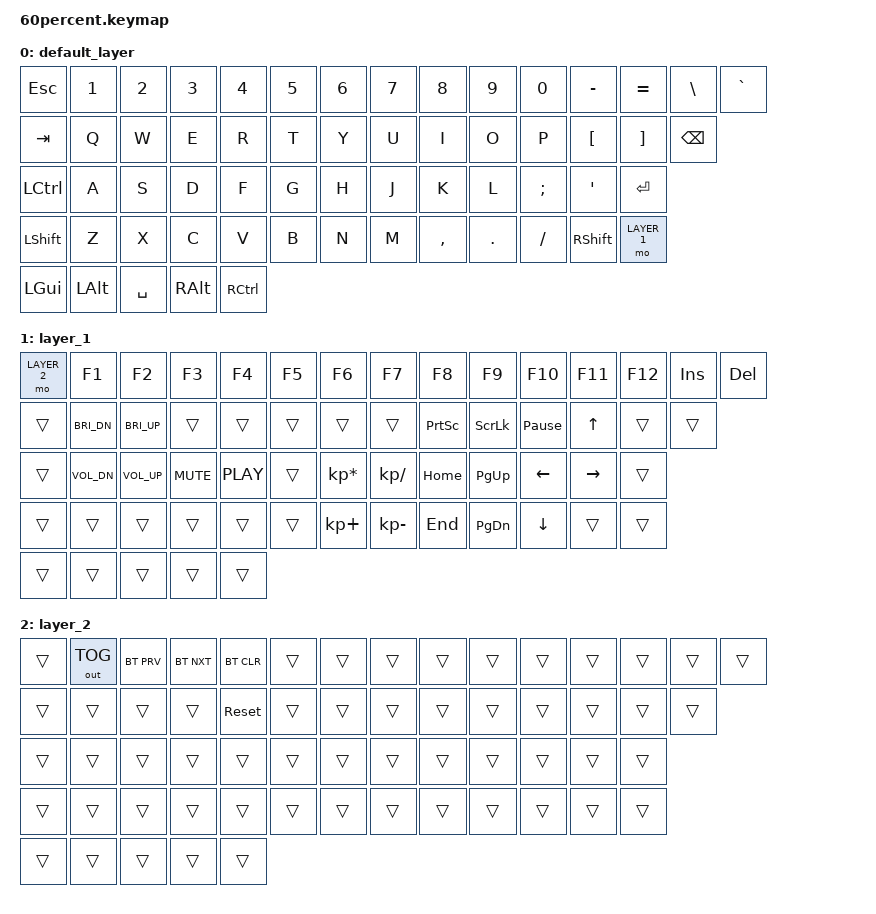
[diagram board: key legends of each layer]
/*
 * Copyright (c) 2023 HeeChan Kang
 *
 * SPDX-License-Identifier: MIT
 */

#include <behaviors.dtsi>
#include <dt-bindings/zmk/keys.h>
#include <dt-bindings/zmk/bt.h>
#include <dt-bindings/zmk/outputs.h>

#define DEFAULT 0
#define LAYER_1 1
#define LAYER_2 2

/ {
    keymap {
        compatible = "zmk,keymap";
        default_layer {
            // ----------------------------------------------------------------------------------------------------------------
            // | ESC |  1  |  2  |  3  |  4  |  5  |  6  |  7  |  8  |  9  |  0  |  -_ |  =+  |  \|  |  `~  |
            // |   Tab  |  Q  |  W  |  E  |  R  |  T  |  Y  |  U  |  I  |  O  |  P  |  [{  |  ]}  |  Delete |
            // |    Ctrl  |  A  |  S  |  D  |  F  |  G  |  H  |  J  |  K  |  L  |  ;:  | '"  |    Return    |
            // |    Shift   |  Z  |  X  |  C  |  V  |  B  |  N  |  M  |  ,<  |  .>  |  /?  |  Shift  |  Fn  |
            //         |  Alt  |  OS  |                 SPACE                 | 한/영 |  한자  |
            bindings = <
                &kp ESC     &kp N1     &kp N2    &kp N3    &kp N4       &kp N5     &kp N6     &kp N7       &kp N8     &kp N9    &kp N0     &kp MINUS   &kp EQUAL &kp BSLH &kp GRAVE
                &kp TAB     &kp Q      &kp W     &kp E     &kp R        &kp T      &kp Y      &kp U        &kp I      &kp O     &kp P      &kp LBKT    &kp RBKT  &kp BSPC
                &kp LCTRL   &kp A      &kp S     &kp D     &kp F        &kp G      &kp H      &kp J        &kp K      &kp L     &kp SEMI   &kp SQT     &kp RET
                &kp LSHIFT  &kp Z      &kp X     &kp C     &kp V        &kp B      &kp N      &kp M        &kp COMMA  &kp DOT   &kp SLASH  &kp RSHIFT  &mo LAYER_1
                &kp LGUI    &kp LALT   &kp SPACE &kp RALT  &kp RCTRL
                >;
        };
        layer_1 {
            // ------------------------------------------------------------------------------------------
            // |       |  F1  |  F2  |  F3  |  F4  |  F5  |  F6  |  F7  |  F8  |  F9  |  F10  |  F11  |  F12  |  Ins  |  Del  |
            // |         | BriDn| BriUp|      |      |      |      |      |  PScr| ScrLk| Pause |  Up   |       |             |
            // |           | VolD | VolU | Mute | Play |      |  *   |   /  | Home | PgUp | Left  | Right |                   |
            // |             |      |      |      |      |      |  +   |  -   |  End | PgDn | Down  |               |         |
            // |         |      |      |                                                     |       |       |
            bindings = <
                &mo LAYER_2  &kp F1  &kp F2  &kp F3  &kp F4     &kp F5    &kp F6    &kp F7       &kp F8     &kp F9     &kp F10    &kp F11  &kp F12  &kp INS &kp DEL
                &trans  &kp C_BRI_DN  &kp C_BRI_UP  &trans  &trans     &trans    &trans    &trans       &kp PSCRN  &kp SLCK  &kp PAUSE_BREAK      &kp UP &trans &trans
                &trans    &kp C_VOL_DN   &kp C_VOL_UP   &kp C_MUTE  &kp C_PLAY  &trans  &kp KP_ASTERISK  &kp KP_SLASH    &kp HOME  &kp PG_UP  &kp LEFT &kp RIGHT &trans
                &trans    &trans   &trans   &trans   &trans  &trans  &kp KP_PLUS  &kp KP_MINUS    &kp END  &kp PG_DN  &kp DOWN      &trans &trans
                &trans    &trans   &trans   &trans   &trans
                >;
        };
        layer_2 {
            // ------------------------------------------------------------------------------------------
            // |       |OUT_TOG|BT_PRV|BT_NXT|BT_CLR|      |      |      |      |      |       |       |       |      |       |
            // |         |      |      |      | RESET|      |      |      |      |       |       |      |       |             |
            // |           |      |      |      |      |      |      |      |      |      |       |       |                   |
            // |             |      |      |      |      |      |      |      |      |      |       |               |         |
            // |         |      |      |                                                     |       |       |
            bindings = <
                &trans    &out OUT_TOG   &bt BT_PRV   &bt BT_NXT   &bt BT_CLR  &trans    &trans    &trans       &trans     &trans     &trans      &trans  &trans  &trans &trans
                &trans    &trans   &trans   &trans   &sys_reset      &trans    &trans    &trans       &trans     &trans     &trans      &trans  &trans  &trans
                &trans    &trans   &trans   &trans   &trans           &trans    &trans    &trans       &trans     &trans     &trans      &trans  &trans
                &trans    &trans   &trans   &trans   &trans           &trans    &trans    &trans       &trans     &trans     &trans      &trans  &trans
                &trans    &trans   &trans   &trans   &trans
                >;
        };
    };
};
